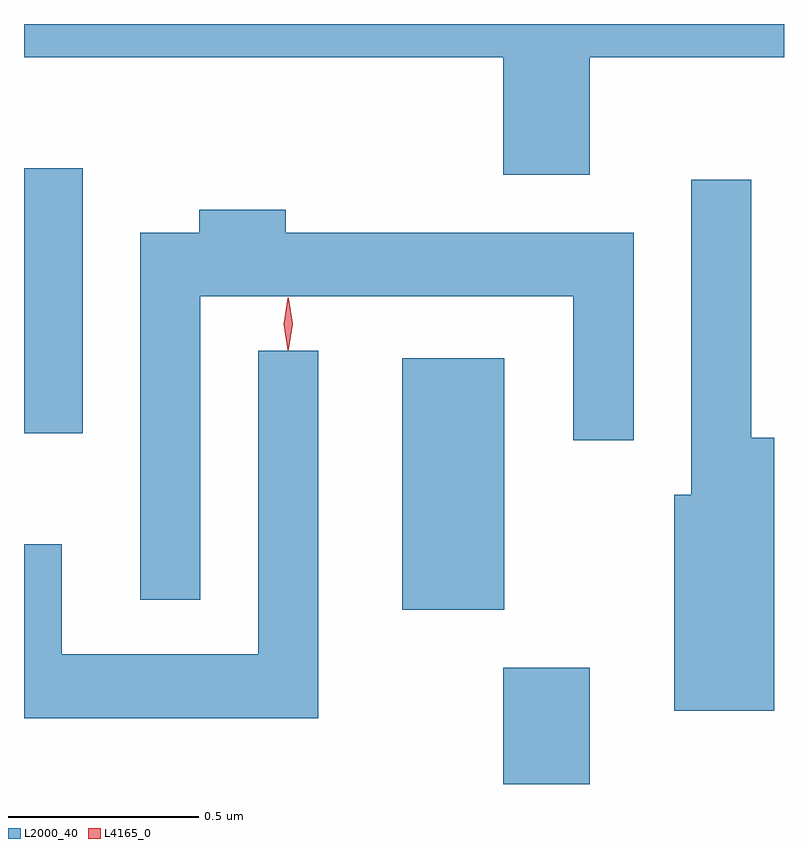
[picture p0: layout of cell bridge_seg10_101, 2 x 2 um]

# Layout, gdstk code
import gdstk
lib = gdstk.Library(unit=1e-6, precision=1e-09)
def R(c, l, rs):  # rectangles x0, y0, x1, y1
    for r in rs: c.add(gdstk.rectangle(r[:2], r[2:], *l))
def P(c, l, *ps):  # polygons
    for p in ps: c.add(gdstk.Polygon(p, *l))
L2000_40 = (2000, 40)
L4165_0 = (4165, 0)

bridge_seg10_101 = lib.new_cell('bridge_seg10_101')
R(bridge_seg10_101, L2000_40, [(1584.151,2171.943,1584.379,2172.249), (1583.886,2172.401,1584.154,2173.064), (1582.89,2172.866,1583.044,2173.564)])
P(bridge_seg10_101, L2000_40, [(1584.379,2173.856),(1584.89,2173.856),(1584.89,2173.943),(1582.89,2173.943),(1582.89,2173.856),(1584.151,2173.856),(1584.151,2173.546),(1584.379,2173.546)],
  [(1584.864,2172.854),(1584.804,2172.854),(1584.804,2173.533),(1584.646,2173.533),(1584.646,2172.704),(1584.601,2172.704),(1584.601,2172.136),(1584.864,2172.136)],
  [(1583.354,2173.226),(1584.336,2173.226),(1584.336,2172.848),(1584.494,2172.848),(1584.494,2173.394),(1583.579,2173.394),(1583.579,2173.454),(1583.351,2173.454),(1583.351,2173.394),(1583.196,2173.394),(1583.196,2172.428),(1583.354,2172.428)],
  [(1583.664,2173.083),(1583.506,2173.083),(1583.506,2172.284),(1582.989,2172.284),(1582.989,2172.574),(1582.89,2172.574),(1582.89,2172.116),(1583.664,2172.116)])
P(bridge_seg10_101, L4165_0, [(1583.584,2173.084),(1583.584,2173.084),(1583.574,2173.153),(1583.584,2173.222),(1583.584,2173.223),(1583.585,2173.222),(1583.594,2173.153),(1583.585,2173.084)],
  [(1583.587,2173.087),(1583.586,2173.088),(1583.577,2173.154),(1583.586,2173.22),(1583.587,2173.221),(1583.587,2173.22),(1583.597,2173.154),(1583.587,2173.088)])

lib.write_gds('bridge_seg10_101.gds')
